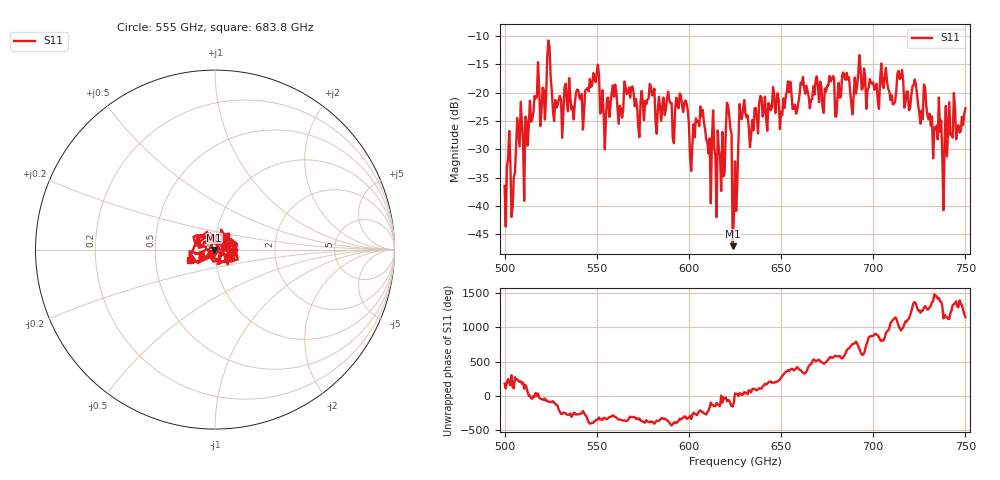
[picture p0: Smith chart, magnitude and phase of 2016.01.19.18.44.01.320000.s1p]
!Created with skrf (http://scikit-rf.org).
# GHz S RI R 50.0
!freq ReS11 ImS11
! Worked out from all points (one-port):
!   401 points, 500 GHz to 750 GHz, reference 50 ohm
!   lowest |S11| = -47.1 dB at 623.8 GHz (marker M1), VSWR 1.01, Z = 49.6 - j0.156 ohm
!   |S11| at or under -10 dB: start of sweep to end of sweep
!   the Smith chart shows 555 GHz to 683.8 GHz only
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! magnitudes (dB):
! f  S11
! 500 GHz  -36.4
! 505 GHz  -34.9
! 508.1 GHz  -29.5
! 511.2 GHz  -24.2
! 517.5 GHz  -20.7
! 520.6 GHz  -19.1
! 523.8 GHz  -10.8
! 526.9 GHz  -25.0
! 531.2 GHz  -28.0
! 549.4 GHz  -18.1
! 553.1 GHz  -19.6
! 562.5 GHz  -22.3
! 593.8 GHz  -22.2
! 601.9 GHz  -29.2
! 607.5 GHz  -23.0
! 616.2 GHz  -30.2
! 621.9 GHz  -24.1
! 623.8 GHz  -47.1
! 625 GHz  -32.1
! 628.8 GHz  -24.6
! 656.2 GHz  -22.9
! 687.5 GHz  -19.9
! 710.6 GHz  -22.1
! 714.4 GHz  -17.6
! 718.8 GHz  -19.8
! 728.8 GHz  -22.2
! 738.8 GHz  -28.4
! 750 GHz  -22.7
